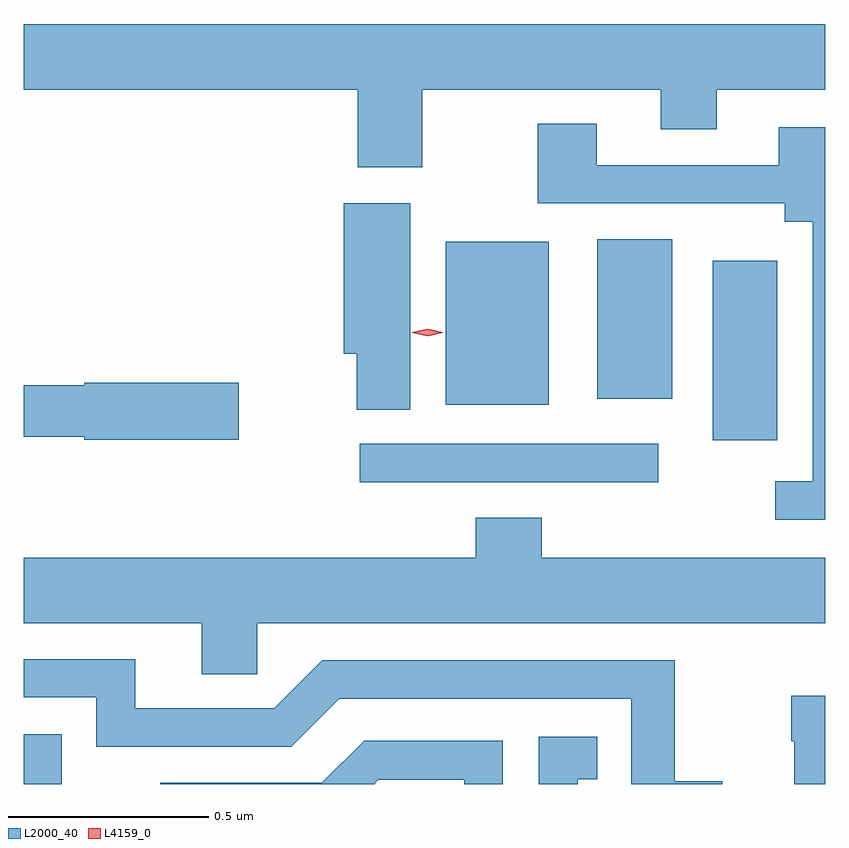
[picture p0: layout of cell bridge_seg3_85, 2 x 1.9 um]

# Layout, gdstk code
import gdstk
lib = gdstk.Library(unit=1e-6, precision=1e-09)
def R(c, l, rs):  # rectangles x0, y0, x1, y1
    for r in rs: c.add(gdstk.rectangle(r[:2], r[2:], *l))
def P(c, l, *ps):  # polygons
    for p in ps: c.add(gdstk.Polygon(p, *l))
L2000_40 = (2000, 40)
L4159_0 = (4159, 0)

bridge_seg3_85 = lib.new_cell('bridge_seg3_85')
R(bridge_seg3_85, L2000_40, [(458.015,683.199,458.109,683.323), (458.853,683.952,459.598,684.048), (459.734,684.057,459.895,684.505), (459.068,684.146,459.325,684.553), (459.446,684.161,459.634,684.559)])
P(bridge_seg3_85, L2000_40, [(459.009,684.932),(459.605,684.932),(459.605,684.833),(459.745,684.833),(459.745,684.932),(460.015,684.932),(460.015,685.096),(458.015,685.096),(458.015,684.932),(458.849,684.932),(458.849,684.738),(459.009,684.738)],
  [(460.015,684.838),(459.899,684.838),(459.899,684.744),(459.445,684.744),(459.445,684.847),(459.298,684.847),(459.298,684.648),(459.914,684.648),(459.914,684.602),(459.984,684.602),(459.984,683.955),(459.891,683.955),(459.891,683.859),(460.015,683.859)],
  [(458.98,684.649),(458.813,684.649),(458.813,684.273),(458.846,684.273),(458.846,684.133),(458.98,684.133)],
  [(458.551,684.2),(458.166,684.2),(458.166,684.194),(458.015,684.194),(458.015,684.066),(458.166,684.066),(458.166,684.058),(458.551,684.058)],
  [(458.598,683.6),(460.015,683.6),(460.015,683.764),(459.308,683.764),(459.308,683.863),(459.143,683.863),(459.143,683.764),(458.015,683.764),(458.015,683.6),(458.459,683.6),(458.459,683.473),(458.598,683.473)],
  [(459.758,683.206),(459.64,683.206),(459.64,683.508),(458.76,683.508),(458.64,683.388),(458.293,683.388),(458.293,683.511),(458.015,683.511),(458.015,683.415),(458.196,683.415),(458.196,683.292),(458.682,683.292),(458.802,683.412),(459.531,683.412),(459.531,683.199),(459.758,683.199)],
  [(460.015,683.419),(459.931,683.419),(459.931,683.306),(459.938,683.306),(459.938,683.199),(460.015,683.199)],
  [(459.397,683.211),(459.446,683.211),(459.446,683.317),(459.3,683.317),(459.3,683.199),(459.397,683.199)],
  [(458.9,683.21),(459.114,683.21),(459.114,683.199),(459.21,683.199),(459.21,683.307),(458.864,683.307),(458.759,683.202),(458.356,683.202),(458.356,683.199),(458.889,683.199)])
P(bridge_seg3_85, L4159_0, [(459.023,684.316),(458.985,684.325),(458.985,684.325),(458.985,684.326),(459.023,684.335),(459.061,684.326),(459.061,684.326),(459.061,684.325)])

lib.write_gds('bridge_seg3_85.gds')
